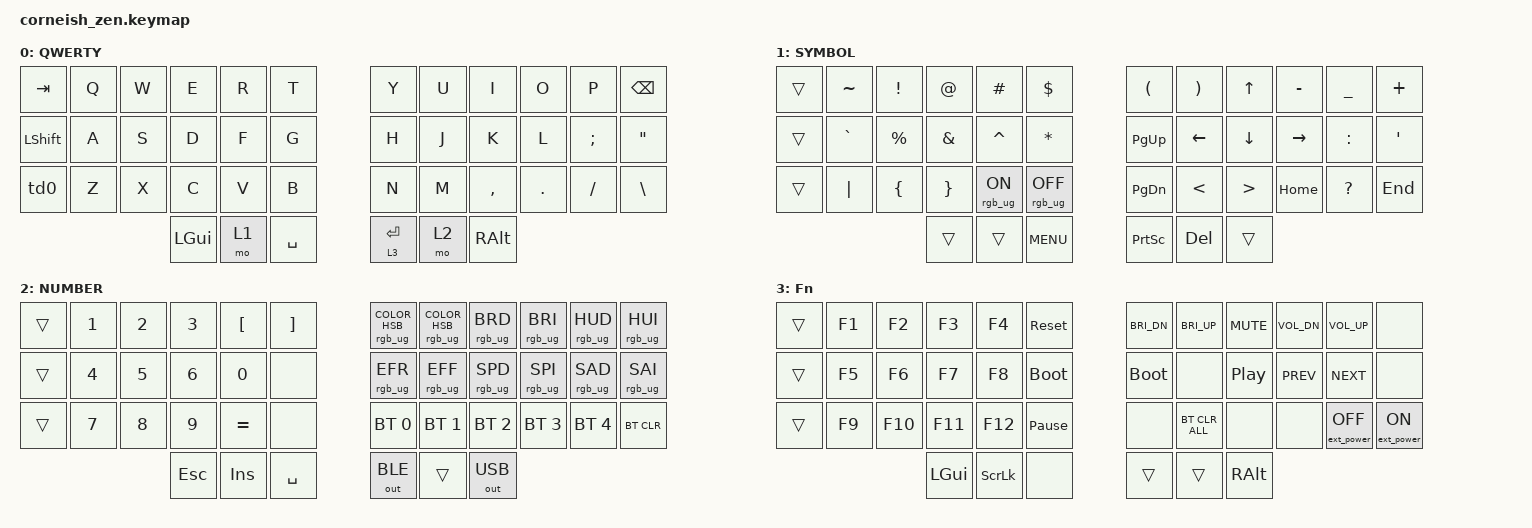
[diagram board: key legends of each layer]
/*
*
* Copyright (c) 2021 Darryl deHaan
* SPDX-License-Identifier: MIT
*
*/

#include <behaviors.dtsi>
#include <dt-bindings/zmk/keys.h>
#include <dt-bindings/zmk/bt.h>
#include <dt-bindings/zmk/ext_power.h>
#include <dt-bindings/zmk/outputs.h>
#include <dt-bindings/zmk/rgb.h>

/ {
    chosen {
        zmk,matrix_transform = &default_transform;

        // zmk,matrix_transform = &five_column_transform;
    };
};

/ {
    behaviors {
        td0: td0 {
            compatible = "zmk,behavior-tap-dance";
            label = "TD0";
            #binding-cells = <0>;
            bindings = <&kp LEFT_CONTROL>, <&kp CAPS>;
        };
    };

    keymap {
        compatible = "zmk,keymap";

        default_layer {
            display-name = "QWERTY";

            // --------------------------------------------------------------------------------
            // |  TAB |  Q  |  W  |  E  |  R  |  T  |   |  Y  |  U   |  I  |  O  |  P  | BKSP |
            // | SHFT |  A  |  S  |  D  |  F  |  G  |   |  H  |  J   |  K  |  L  |  ;  |  "   | 
            // | CTRL |  Z  |  X  |  C  |  V  |  B  |   |  N  |  M   |  ,  |  .  |  /  |  \   |
            //                    | GUI | LWL | SPC |   | L3+EBTER | LAYER2| RALT |

            bindings = <
&kp TAB    &kp Q  &kp W  &kp E     &kp R  &kp T          &kp Y  &kp U  &kp I      &kp O    &kp P     &kp BSPC
&kp LSHIFT &kp A  &kp S  &kp D     &kp F  &kp G          &kp H  &kp J  &kp K      &kp L    &kp SEMI  &kp DQT
&td0       &kp Z  &kp X  &kp C     &kp V  &kp B          &kp N  &kp M  &kp COMMA  &kp DOT  &kp FSLH  &kp BSLH
                         &kp LGUI  &mo 1  &kp SPACE      &lt 3 ENTER  &mo 2   &kp RALT
            >;
        };

        lower_layer {
            display-name = "SYMBOL";

            // -----------------------------------------------------------------------------------------
            // |  TAB |  ~  |  !  |  @  |  #  |  $  |   |  (  |  )  |  ↑  |  -  |  _  |   +  |
            // | SHFT |  `  |  %  |  ^  |  &  |  *  |   |PGUP |  ←  |  ↓  |  →  |  :  |   '  |
            // | CTRL |  |  |  {  |  }  |RGB开|RGB关|   |PGDN |  <  |  >  |HOME |  ?  | END  |
            //               | GUI |     | 鼠标右键 |   |PRTSCR| DEL | RALT |

            bindings = <
&trans  &kp TILDE  &kp EXCL   &kp AT    &kp HASH   &kp DLLR              &kp LPAR   &kp RPAR   &kp UP    &kp MINUS  &kp UNDER  &kp PLUS
&trans  &kp GRAVE  &kp PRCNT  &kp AMPS  &kp CARET  &kp STAR              &kp PG_UP  &kp LEFT   &kp DOWN   &kp RIGHT  &kp COLON  &kp SQT
&trans  &kp PIPE   &kp LBRC  &kp RBRC  &rgb_ug RGB_ON  &rgb_ug RGB_OFF   &kp PG_DN  &kp LT     &kp GT     &kp HOME   &kp QMARK  &kp END
                             &trans  &trans   &kp C_MENU        &kp PSCRN  &kp DEL  &trans
            >;
        };

        raise_layer {
            display-name = "NUMBER";

            // -----------------------------------------------------------------------------------------
            // |  TAB |  1  |  2  |  3  |  [  |  ]   |      |RGB定1 |RGB定2 |RGB亮↓|RGB亮↑|RGB色↓|RGB色↑|
            // | CTRL |  4  |  5  |  6  |  0  |资源管理器|   |RGB灯← | RGB灯→|RGB动↓|RGB动↑|RGB饱↓|RGB饱↑|
            // | SHFT |  7  |  8  |  9  |  =  |任务管理器|   |蓝牙0  | 蓝牙1 |蓝牙2  |蓝牙3 |蓝牙4 |当前蓝牙清|
            //                    | ESC | INS | SPACE |      |OUT_BLE|       |OUT_USB|

            bindings = <
&trans  &kp N1  &kp N2  &kp N3  &kp LBKT   &kp RBKT   &rgb_ug RGB_COLOR_HSB(280,75,100)  &rgb_ug RGB_COLOR_HSB(300,80,40)  &rgb_ug RGB_BRD  &rgb_ug RGB_BRI  &rgb_ug RGB_HUD  &rgb_ug RGB_HUI
&trans  &kp N4  &kp N5  &kp N6  &kp N0     &none      &rgb_ug RGB_EFR                  &rgb_ug RGB_EFF  &rgb_ug RGB_SPD  &rgb_ug RGB_SPI  &rgb_ug RGB_SAD  &rgb_ug RGB_SAI
&trans  &kp N7  &kp N8  &kp N9  &kp EQUAL  &none      &bt BT_SEL 0                     &bt BT_SEL 1     &bt BT_SEL 2     &bt BT_SEL 3     &bt BT_SEL 4     &bt BT_CLR
                     &kp ESC  &kp INS  &kp SPACE      &out OUT_BLE                     &trans           &out OUT_USB
            >;
        };

        layer_3 {
            display-name = "Fn";

            // -----------------------------------------------------------------------------------------
            // |  TAB |  F1  |  F2  |  F3  |  F4  |SYS RESET |     |   亮度↓   | 亮度↑| 静音 | 音量- | 音量+ | 连设备win+k |
            // | CTRL |  F5  |  F6  |  F7  |  F8  |BOOTLOADER|     |BOOTLOADER |     | 暂停 |上一曲 | 下一曲|  锁定win+L |
            // | SHFT |  F9  |  F10 |  F11 |  F12 |PAUSE BREAK|    |          |蓝牙全清|     |       | 禁用外部电源 |启用外部电源|
            //                      | GUI  |SCRLK  |        |      |&trans|      |Alt|

            bindings = <
&trans  &kp F1  &kp F2   &kp F3   &kp F4   &sys_reset         &kp C_BRI_DN  &kp C_BRI_UP  &kp C_MUTE  &kp C_VOL_DN    &kp C_VOL_UP       &none
&trans  &kp F5  &kp F6   &kp F7   &kp F8   &bootloader        &bootloader   &none        &kp C_PP     &kp C_PREV      &kp C_NEXT         &none
&trans  &kp F9  &kp F10  &kp F11  &kp F12  &kp PAUSE_BREAK    &none      &bt BT_CLR_ALL  &none        &none           &ext_power EP_OFF  &ext_power EP_ON
                 &kp LGUI  &kp SLCK        &none             &trans       &trans       &kp RALT
            >;
        };
    };
};
